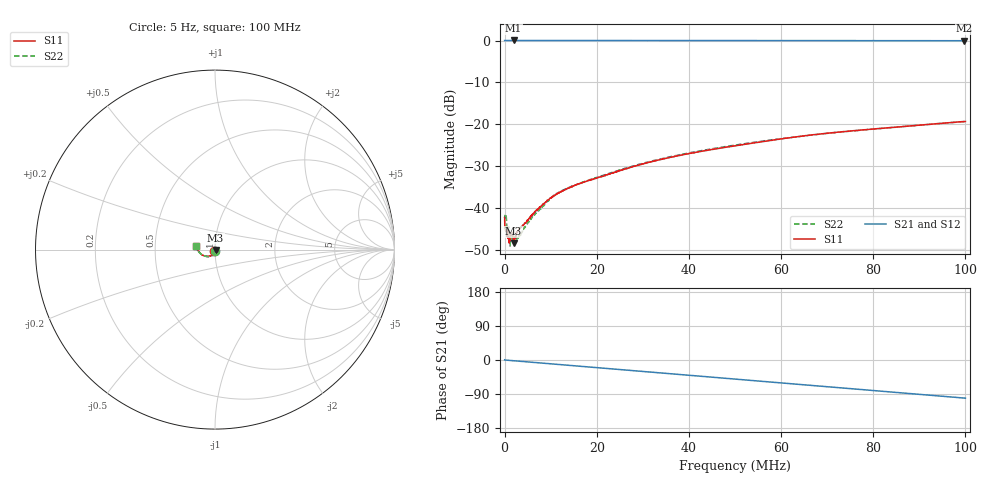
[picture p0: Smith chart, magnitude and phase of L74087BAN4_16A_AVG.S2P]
!Agilent Technologies,E5061B,MY49102235,A.02.00
!Date: Tue Jul 11 16:21:22 2023
!Data & Calibration Information:
!Freq	S11:SOLT2(ON)	S21:SOLT2(ON)	S12:SOLT2(ON)	S22:SOLT2(ON)
# Hz S RI R 50
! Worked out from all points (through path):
!   1600 points, 5 Hz to 100 MHz, reference 50 ohm
!   highest |S21| = 0.02 dB at 1.939 MHz (marker M1); lowest = 0.0 dB at 99.75 MHz (marker M2)
!   group delay of S21, straight-line fit = 2.8 ns
!   lowest |S11| = -48.3 dB at 1.939 MHz (marker M3), VSWR 1.01, Z = 50.3 - j0.222 ohm
!   |S11| at or under -10 dB: start of sweep to end of sweep
!   |S22| runs from -49.0 to -19.3 dB; largest |S21 - S12| = 0.0026
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5  -0.00531 -0.00565  1.002 0.00805  1 0.0102  -0.00153 -0.00752
437778.6  0.00514 -0.00056  1.001 -0.00537  1.001 -0.00608  0.00662 -0.00221
625395.8  0.00509 -0.000583  1.002 -0.0104  1.002 -0.0101  0.00611 -0.000975
938091.3  0.00433 -0.000351  1.001 -0.015  1.001 -0.0147  0.00592 -0.000933
1500943  0.00436 -0.00242  1.001 -0.0249  1.002 -0.025  0.00302 -0.00358
1938717  0.00313 -0.00221  1.002 -0.0336  1.002 -0.0332  0.00343 -0.00194
2376490  0.00331 -0.00284  0.9997 -0.0412  1 -0.0417  0.00395 -0.00251
3252037  0.00426 -0.00398  0.9993 -0.0569  0.9992 -0.0568  0.00316 -0.00347
6003757  0.00337 -0.00748  0.9954 -0.105  0.9955 -0.1049  0.0029 -0.00729
9505946  0.0016 -0.0125  0.987 -0.1663  0.9873 -0.1661  0.000928 -0.0124
1.156974e7  0.000162 -0.0152  0.9805 -0.2019  0.9803 -0.2017  -0.0008 -0.0153
1.669794e7  -0.00353 -0.0198  0.9577 -0.2893  0.9577 -0.2891  -0.00398 -0.0198
2.582865e7  -0.0104 -0.027  0.8993 -0.4386  0.8992 -0.4385  -0.00838 -0.0283
3.333334e7  -0.0187 -0.0326  0.8333 -0.553  0.8332 -0.5528  -0.0175 -0.0338
4.033771e7  -0.0275 -0.0361  0.7588 -0.6508  0.7588 -0.6506  -0.0273 -0.0372
5.003127e7  -0.0409 -0.0376  0.6372 -0.77  0.6371 -0.7698  -0.0413 -0.0387
6.672921e7  -0.0683 -0.0313  0.3865 -0.9201  0.3867 -0.9202  -0.0677 -0.0318
7.53596e7  -0.0808 -0.0223  0.243 -0.9671  0.2431 -0.9671  -0.0802 -0.0233
8.33646e7  -0.0906 -0.0105  0.1052 -0.9911  0.105 -0.9913  -0.0902 -0.0125
9.155722e7  -0.0995 0.00377  -0.0382 -0.9949  -0.0383 -0.995  -0.0997 0.000621
9.974984e7  -0.1065 0.0196  -0.1803 -0.9781  -0.1802 -0.9784  -0.1064 0.0168
1e8  -0.1066 0.02  -0.1846 -0.9775  -0.1846 -0.9776  -0.1067 0.0174
